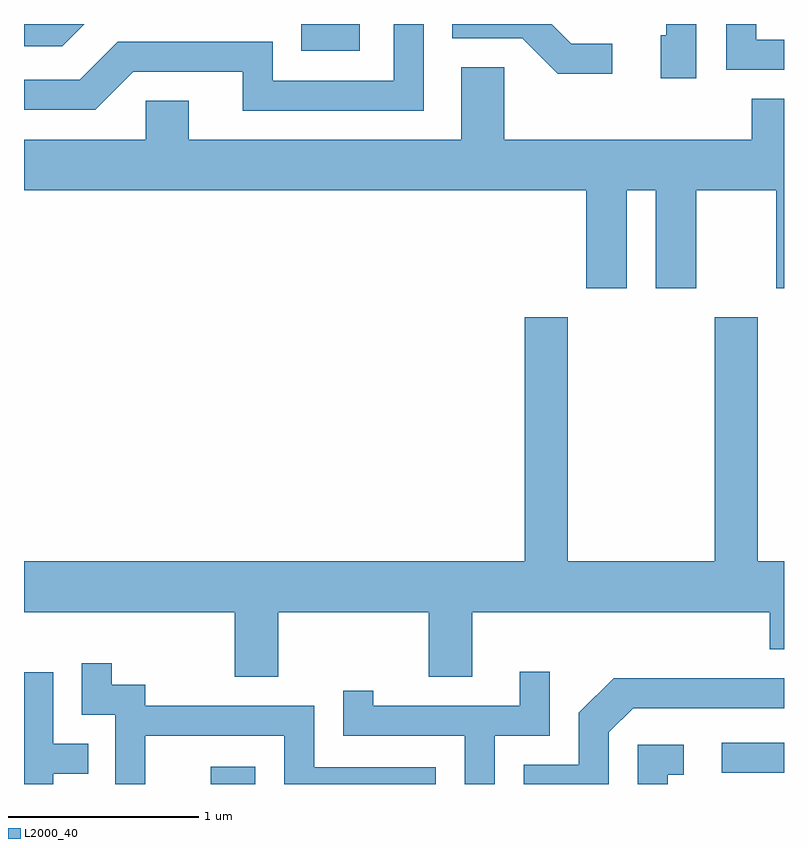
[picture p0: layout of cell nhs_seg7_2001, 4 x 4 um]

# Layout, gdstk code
import gdstk
lib = gdstk.Library(unit=1e-6, precision=1e-09)
def R(c, l, rs):  # rectangles x0, y0, x1, y1
    for r in rs: c.add(gdstk.rectangle(r[:2], r[2:], *l))
def P(c, l, *ps):  # polygons
    for p in ps: c.add(gdstk.Polygon(p, *l))
L2000_40 = (2000, 40)

nhs_seg7_2001 = lib.new_cell('nhs_seg7_2001')
R(nhs_seg7_2001, L2000_40, [(246.593,1762.252,246.829,1762.344), (249.283,1762.311,249.611,1762.469), (247.071,1766.111,247.379,1766.252)])
P(nhs_seg7_2001, L2000_40, [(249.149,1766.252),(248.991,1766.252),(248.991,1766.194),(248.961,1766.194),(248.961,1765.966),(249.149,1765.966)],
  [(245.928,1766.252),(245.611,1766.252),(245.611,1766.136),(245.812,1766.136)],
  [(249.611,1766.169),(249.464,1766.169),(249.464,1766.252),(249.306,1766.252),(249.306,1766.011),(249.611,1766.011)],
  [(248.708,1766.149),(248.492,1766.149),(248.389,1766.252),(247.866,1766.252),(247.866,1766.176),(248.234,1766.176),(248.419,1765.991),(248.708,1765.991)],
  [(247.714,1766.252),(247.556,1766.252),(247.556,1765.954),(246.919,1765.954),(246.919,1766.159),(246.104,1766.159),(245.904,1765.959),(245.611,1765.959),(245.611,1765.801),(245.987,1765.801),(246.187,1766.001),(246.761,1766.001),(246.761,1765.796),(247.714,1765.796)],
  [(248.784,1765.376),(248.936,1765.376),(248.936,1764.861),(249.149,1764.861),(249.149,1765.376),(249.571,1765.376),(249.571,1764.861),(249.611,1764.861),(249.611,1765.859),(249.441,1765.859),(249.441,1765.644),(248.139,1765.644),(248.139,1766.024),(247.911,1766.024),(247.911,1765.644),(246.479,1765.644),(246.479,1765.849),(246.251,1765.849),(246.251,1765.644),(245.611,1765.644),(245.611,1765.376),(248.571,1765.376),(248.571,1764.861),(248.784,1764.861)],
  [(246.949,1763.156),(247.741,1763.156),(247.741,1762.816),(247.969,1762.816),(247.969,1763.156),(249.536,1763.156),(249.536,1762.961),(249.611,1762.961),(249.611,1763.424),(249.474,1763.424),(249.474,1764.709),(249.246,1764.709),(249.246,1763.424),(248.474,1763.424),(248.474,1764.709),(248.246,1764.709),(248.246,1763.424),(245.611,1763.424),(245.611,1763.156),(246.721,1763.156),(246.721,1762.816),(246.949,1762.816)],
  [(246.249,1762.506),(246.981,1762.506),(246.981,1762.252),(247.779,1762.252),(247.779,1762.339),(247.139,1762.339),(247.139,1762.664),(246.249,1762.664),(246.249,1762.774),(246.074,1762.774),(246.074,1762.888),(245.916,1762.888),(245.916,1762.616),(246.091,1762.616),(246.091,1762.252),(246.249,1762.252)],
  [(248.089,1762.506),(248.379,1762.506),(248.379,1762.843),(248.221,1762.843),(248.221,1762.664),(247.449,1762.664),(247.449,1762.743),(247.291,1762.743),(247.291,1762.506),(247.931,1762.506),(247.931,1762.252),(248.089,1762.252)],
  [(245.764,1762.306),(245.948,1762.306),(245.948,1762.464),(245.764,1762.464),(245.764,1762.839),(245.611,1762.839),(245.611,1762.252),(245.764,1762.252)],
  [(248.689,1762.524),(248.817,1762.651),(249.611,1762.651),(249.611,1762.809),(248.714,1762.809),(248.531,1762.627),(248.531,1762.354),(248.241,1762.354),(248.241,1762.252),(248.689,1762.252)],
  [(248.999,1762.301),(249.083,1762.301),(249.083,1762.459),(248.841,1762.459),(248.841,1762.252),(248.999,1762.252)])

lib.write_gds('nhs_seg7_2001.gds')
